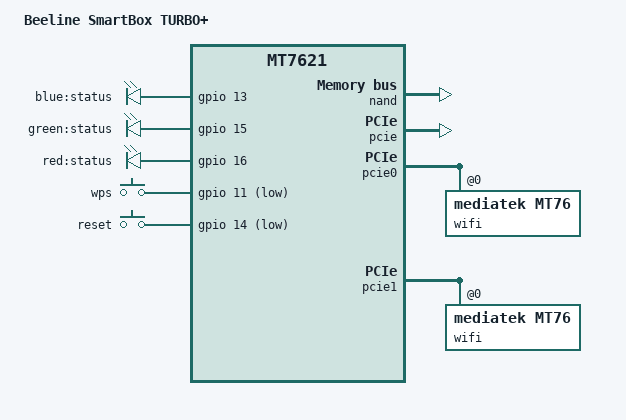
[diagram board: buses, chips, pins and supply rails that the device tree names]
// SPDX-License-Identifier: GPL-2.0-or-later OR MIT

#include "mt7621.dtsi"

#include <dt-bindings/gpio/gpio.h>
#include <dt-bindings/input/input.h>

/ {
	compatible = "beeline,smartbox-turbo-plus", "mediatek,mt7621-soc";
	model = "Beeline SmartBox TURBO+";

	aliases {
		led-boot = &led_status_green;
		led-failsafe = &led_status_red;
		led-running = &led_status_green;
		led-upgrade = &led_status_red;
		label-mac-device = &ethernet;
	};

	leds {
		compatible = "gpio-leds";

		led_status_blue: status_blue {
			label = "blue:status";
			gpios = <&gpio 13 GPIO_ACTIVE_HIGH>;
		};

		led_status_green: status_green {
			label = "green:status";
			gpios = <&gpio 15 GPIO_ACTIVE_HIGH>;
		};

		led_status_red: status_red {
			label = "red:status";
			gpios = <&gpio 16 GPIO_ACTIVE_HIGH>;
		};
	};

	keys {
		compatible = "gpio-keys";

		wps {
			label = "wps";
			gpios = <&gpio 11 GPIO_ACTIVE_LOW>;
			linux,code = <KEY_WPS_BUTTON>;
		};

		reset {
			label = "reset";
			gpios = <&gpio 14 GPIO_ACTIVE_LOW>;
			linux,code = <KEY_RESTART>;
		};
	};

	ubi-concat {
		compatible = "mtd-concat";
		devices = <&ubiconcat0 &ubiconcat1 &ubiconcat2>;

		partitions {
			compatible = "fixed-partitions";
			#address-cells = <1>;
			#size-cells = <1>;

			partition@0 {
				label = "ubi";
				reg = <0x0 0x4f80000>;
			};
		};
	};
};

&nand {
	status = "okay";

	partitions {
		compatible = "sercomm,sc-partitions", "fixed-partitions";
		#address-cells = <1>;
		#size-cells = <1>;

		partition@0 {
			label = "u-boot";
			reg = <0x0 0x100000>;
			scpart-id = <0>;
			read-only;
		};

		partition@100000 {
			label = "part_map";
			reg = <0x100000 0x100000>;
			scpart-id = <1>;
			read-only;
		};

		factory: partition@200000 {
			label = "factory";
			reg = <0x200000 0x100000>;
			scpart-id = <2>;
			read-only;
		};

		partition@300000 {
			label = "dual-flag";
			reg = <0x300000 0x100000>;
			scpart-id = <3>;
		};

		partition@400000 {
			label = "kernel";
			reg = <0x400000 0x600000>;
			scpart-id = <4>;
		};

		partition@a00000 {
			label = "uImage2";
			reg = <0xa00000 0x600000>;
			scpart-id = <5>;
			read-only;
		};

		ubiconcat0: partition@1000000 {
			label = "ubiconcat0";
			reg = <0x1000000 0x2000000>;
			scpart-id = <6>;
		};

		partition@3000000 {
			label = "rootfs2";
			reg = <0x3000000 0x2000000>;
			scpart-id = <7>;
			read-only;
		};

		ubiconcat1: partition@5000000 {
			label = "ubiconcat1";
			reg = <0x5000000 0x1400000>;
			scpart-id = <8>;
		};

		ubiconcat2: partition@6400000 {
			label = "ubiconcat2";
			reg = <0x6400000 0x1b80000>;
			scpart-id = <9>;
		};
	};
};

&pcie {
	status = "okay";
};

&pcie0 {
	wifi@0,0 {
		compatible = "mediatek,mt76";
		reg = <0x0000 0 0 0 0>;
		mediatek,mtd-eeprom = <&factory 0x8000>;
		ieee80211-freq-limit = <5000000 6000000>;
	};
};

&pcie1 {
	wifi@0,0 {
		compatible = "mediatek,mt76";
		reg = <0x0000 0 0 0 0>;
		mediatek,mtd-eeprom = <&factory 0x0>;
		ieee80211-freq-limit = <2400000 2500000>;
	};
};

&ethernet {
	compatible = "mediatek,ralink-mt7621-eth";
	mediatek,switch = <&gsw>;
	mtd-mac-address = <&factory 0x21000>;
};

&switch0 {
	/delete-property/ compatible;
	phy-mode = "rgmii";
};

&gsw {
	compatible = "mediatek,ralink-mt7621-gsw";
};

&state_default {
	gpio {
		groups = "jtag", "uart2";
		function = "gpio";
	};
};
